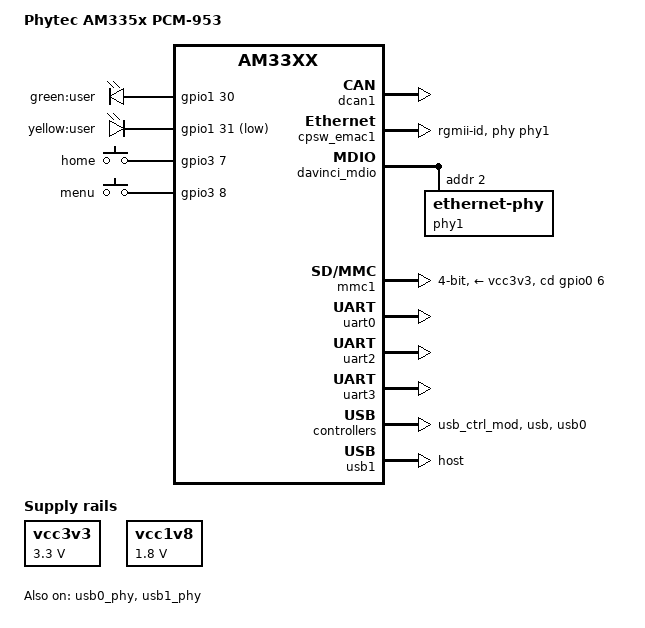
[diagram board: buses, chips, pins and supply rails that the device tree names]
/*
 * Copyright (C) 2014-2017 Phytec Messtechnik GmbH
 * Author: Wadim Egorov <w.egorov@phytec.de>
 *	   Teresa Remmet <t.remmet@phytec.de>
 *
 * This program is free software; you can redistribute it and/or modify
 * it under the terms of the GNU General Public License version 2 as
 * published by the Free Software Foundation.
 */

#include <dt-bindings/input/input.h>

/ {
	model = "Phytec AM335x PCM-953";
	compatible = "phytec,am335x-pcm-953", "phytec,am335x-phycore-som", "ti,am33xx";

	/* Power */
	regulators {
		vcc3v3: fixedregulator@1 {
			compatible = "regulator-fixed";
			regulator-name = "vcc3v3";
			regulator-min-microvolt = <3300000>;
			regulator-max-microvolt = <3300000>;
			regulator-boot-on;
		};

		vcc1v8: fixedregulator@2 {
			compatible = "regulator-fixed";
			regulator-name = "vcc1v8";
			regulator-min-microvolt = <1800000>;
			regulator-max-microvolt = <1800000>;
			regulator-boot-on;
		};
	};

	/* User IO */
	user_leds: user_leds {
		compatible = "gpio-leds";
		pinctrl-names = "default";
		pinctrl-0 = <&user_leds_pins>;

		green {
			label = "green:user";
			gpios = <&gpio1 30 GPIO_ACTIVE_HIGH>;
			linux,default-trigger = "gpio";
			default-state = "on";
		};

		yellow {
			label = "yellow:user";
			gpios = <&gpio1 31 GPIO_ACTIVE_LOW>;
			linux,default-trigger = "gpio";
			default-state = "on";
		};
	};

	user_buttons: user_buttons {
		compatible = "gpio-keys";
		pinctrl-names = "default";
		pinctrl-0 = <&user_buttons_pins>;

		button@0 {
			label = "home";
			linux,code = <KEY_HOME>;
			gpios = <&gpio3 7 GPIO_ACTIVE_HIGH>;
			wakeup-source;
		};

		button@1 {
			label = "menu";
			linux,code = <KEY_MENU>;
			gpios = <&gpio3 8 GPIO_ACTIVE_HIGH>;
			wakeup-source;
		};

	};
};

&am33xx_pinmux {
	user_buttons_pins: pinmux_user_buttons {
		pinctrl-single,pins = <
			AM33XX_PADCONF(AM335X_PIN_EMU0, PIN_INPUT_PULLDOWN, MUX_MODE7)	/* emu0.gpio3_7 */
			AM33XX_PADCONF(AM335X_PIN_EMU1, PIN_INPUT_PULLDOWN, MUX_MODE7)	/* emu1.gpio3_8 */
		>;
	};

	user_leds_pins: pinmux_user_leds {
		pinctrl-single,pins = <
			AM33XX_PADCONF(AM335X_PIN_GPMC_CSN1, PIN_OUTPUT_PULLDOWN, MUX_MODE7)	/* gpmc_csn1.gpio1_30 */
			AM33XX_PADCONF(AM335X_PIN_GPMC_CSN2, PIN_OUTPUT_PULLDOWN, MUX_MODE7)	/* gpmc_csn2.gpio1_31 */
		>;
	};
};

/* CAN */
&am33xx_pinmux {
	dcan1_pins: pinmux_dcan1 {
		pinctrl-single,pins = <
			AM33XX_PADCONF(AM335X_PIN_UART1_RXD, PIN_OUTPUT_PULLUP, MUX_MODE2)	/* uart1_rxd.dcan1_tx_mux2 */
			AM33XX_PADCONF(AM335X_PIN_UART1_TXD, PIN_INPUT_PULLUP, MUX_MODE2)	/* uart1_txd.dcan1_rx_mux2 */
		>;
	};
};

&dcan1 {
	pinctrl-names = "default";
	pinctrl-0 = <&dcan1_pins>;
	status = "okay";
};

/* Ethernet */
&am33xx_pinmux {
	ethernet1_pins: pinmux_ethernet1 {
		pinctrl-single,pins = <
			AM33XX_PADCONF(AM335X_PIN_GPMC_A0, PIN_OUTPUT_PULLDOWN, MUX_MODE2)	/* gpmc_a0.rgmii2_tctl */
			AM33XX_PADCONF(AM335X_PIN_GPMC_A1, PIN_INPUT_PULLDOWN, MUX_MODE2)	/* gpmc_a1.rgmii2_rctl */
			AM33XX_PADCONF(AM335X_PIN_GPMC_A2, PIN_OUTPUT_PULLDOWN, MUX_MODE2)	/* gpmc_a2.rgmii2_td3 */
			AM33XX_PADCONF(AM335X_PIN_GPMC_A3, PIN_OUTPUT_PULLDOWN, MUX_MODE2)	/* gpmc_a3.rgmii2_td2 */
			AM33XX_PADCONF(AM335X_PIN_GPMC_A4, PIN_OUTPUT_PULLDOWN, MUX_MODE2)	/* gpmc_a4.rgmii2_td1 */
			AM33XX_PADCONF(AM335X_PIN_GPMC_A5, PIN_OUTPUT_PULLDOWN, MUX_MODE2)	/* gpmc_a5.rgmii2_td0 */
			AM33XX_PADCONF(AM335X_PIN_GPMC_A6, PIN_OUTPUT_PULLDOWN, MUX_MODE2)	/* gpmc_a6.rgmii2_tclk */
			AM33XX_PADCONF(AM335X_PIN_GPMC_A7, PIN_INPUT_PULLDOWN, MUX_MODE2)	/* gpmc_a7.rgmii2_rclk */
			AM33XX_PADCONF(AM335X_PIN_GPMC_A8, PIN_INPUT_PULLDOWN, MUX_MODE2)	/* gpmc_a8.rgmii2_rd3 */
			AM33XX_PADCONF(AM335X_PIN_GPMC_A9, PIN_INPUT_PULLDOWN, MUX_MODE2)	/* gpmc_a9.rgmii2_rd2 */
			AM33XX_PADCONF(AM335X_PIN_GPMC_A10, PIN_INPUT_PULLDOWN, MUX_MODE2)	/* gpmc_a10.rgmii2_rd1 */
			AM33XX_PADCONF(AM335X_PIN_GPMC_A11, PIN_INPUT_PULLDOWN, MUX_MODE2)	/* gpmc_a11.rgmii2_rd0 */
		>;
	};
};

&cpsw_emac1 {
	phy-handle = <&phy1>;
	phy-mode = "rgmii-id";
	dual_emac_res_vlan = <2>;
	status = "okay";
};

&davinci_mdio {
	phy1: ethernet-phy@2 {
		reg = <2>;

		/* Register 260 (104h) – RGMII Clock and Control Pad Skew */
		rxc-skew-ps = <1400>;
		rxdv-skew-ps = <0>;
		txc-skew-ps = <1400>;
		txen-skew-ps = <0>;
		/* Register 261 (105h) – RGMII RX Data Pad Skew */
		rxd3-skew-ps = <0>;
		rxd2-skew-ps = <0>;
		rxd1-skew-ps = <0>;
		rxd0-skew-ps = <0>;
		/* Register 262 (106h) – RGMII TX Data Pad Skew */
		txd3-skew-ps = <0>;
		txd2-skew-ps = <0>;
		txd1-skew-ps = <0>;
		txd0-skew-ps = <0>;
	};
};

&mac {
	slaves = <2>;
	pinctrl-names = "default";
	pinctrl-0 = <&ethernet0_pins &ethernet1_pins>;
	dual_emac;
};

/* Misc */
&am33xx_pinmux {
	pinctrl-names = "default";
	pinctrl-0 = <&cb_gpio_pins>;

	cb_gpio_pins: pinmux_cb_gpio {
		pinctrl-single,pins = <
			AM33XX_PADCONF(AM335X_PIN_UART0_CTSN, PIN_OUTPUT_PULLDOWN, MUX_MODE7)	/* uart0_ctsn.gpio1_8 */
			AM33XX_PADCONF(AM335X_PIN_UART0_RTSN, PIN_OUTPUT_PULLDOWN, MUX_MODE7)	/* uart0_rtsn.gpio1_9 */
		>;
	};
};

/* MMC */
&am33xx_pinmux {
	mmc1_pins: pinmux_mmc1_pins {
		pinctrl-single,pins = <
			AM33XX_PADCONF(AM335X_PIN_MMC0_DAT3, PIN_INPUT_PULLUP, MUX_MODE0)
			AM33XX_PADCONF(AM335X_PIN_MMC0_DAT2, PIN_INPUT_PULLUP, MUX_MODE0)
			AM33XX_PADCONF(AM335X_PIN_MMC0_DAT1, PIN_INPUT_PULLUP, MUX_MODE0)
			AM33XX_PADCONF(AM335X_PIN_MMC0_DAT0, PIN_INPUT_PULLUP, MUX_MODE0)
			AM33XX_PADCONF(AM335X_PIN_MMC0_CLK, PIN_INPUT_PULLUP, MUX_MODE0)
			AM33XX_PADCONF(AM335X_PIN_MMC0_CMD, PIN_INPUT_PULLUP, MUX_MODE0)
			AM33XX_PADCONF(AM335X_PIN_SPI0_CS1, PIN_INPUT_PULLUP, MUX_MODE7)	/* spi0_cs1.mmc0_sdcd */
		>;
	};
};

&mmc1 {
	vmmc-supply = <&vcc3v3>;
	bus-width = <4>;
	pinctrl-names = "default";
	pinctrl-0 = <&mmc1_pins>;
	cd-gpios = <&gpio0 6 GPIO_ACTIVE_HIGH>;
	status = "okay";
};

/* UARTs */
&am33xx_pinmux {
	uart0_pins: pinmux_uart0 {
		pinctrl-single,pins = <
			AM33XX_PADCONF(AM335X_PIN_UART0_RXD, PIN_INPUT_PULLUP, MUX_MODE0)
			AM33XX_PADCONF(AM335X_PIN_UART0_TXD, PIN_OUTPUT_PULLDOWN, MUX_MODE0)
		>;
	};

	uart1_pins: pinmux_uart1 {
		pinctrl-single,pins = <
			AM33XX_PADCONF(AM335X_PIN_UART1_RXD, PIN_INPUT_PULLUP, MUX_MODE0)
			AM33XX_PADCONF(AM335X_PIN_UART1_TXD, PIN_OUTPUT_PULLDOWN, MUX_MODE0)
			AM33XX_PADCONF(AM335X_PIN_UART1_CTSN, PIN_INPUT, MUX_MODE0)
			AM33XX_PADCONF(AM335X_PIN_UART1_RTSN, PIN_OUTPUT_PULLDOWN, MUX_MODE0)
		>;
	};

	uart2_pins: pinmux_uart2 {
		pinctrl-single,pins = <
			AM33XX_PADCONF(AM335X_PIN_MII1_TX_CLK, PIN_INPUT_PULLUP, MUX_MODE1)	/* mii1_tx_clk.uart2_rxd */
			AM33XX_PADCONF(AM335X_PIN_MII1_RX_CLK, PIN_OUTPUT_PULLDOWN, MUX_MODE1)	/* mii1_rx_clk.uart2_txd */
		>;
	};

	uart3_pins: pinmux_uart3 {
		pinctrl-single,pins = <
			AM33XX_PADCONF(AM335X_PIN_MII1_RXD3, PIN_INPUT_PULLUP, MUX_MODE1)	/* mii1_rxd3.uart3_rxd */
			AM33XX_PADCONF(AM335X_PIN_MII1_RXD2, PIN_OUTPUT_PULLDOWN, MUX_MODE1)	/* mii1_rxd2.uart3_txd */
		>;
	};
};

&uart0 {
	pinctrl-names = "default";
	pinctrl-0 = <&uart0_pins>;
	status = "okay";
};

&uart1 {
	pinctrl-names = "default";
	pinctrl-0 = <&uart1_pins>;
};

&uart2 {
	pinctrl-names = "default";
	pinctrl-0 = <&uart2_pins>;
	status = "okay";
};

&uart3 {
	pinctrl-names = "default";
	pinctrl-0 = <&uart3_pins>;
	status = "okay";
};

/* USB */
&cppi41dma {
	status = "okay";
};

&usb_ctrl_mod {
	status = "okay";
};

&usb {
	status = "okay";
};

&usb0 {
	status = "okay";
};

&usb0_phy {
	status = "okay";
};

&usb1 {
	status = "okay";
	dr_mode = "host";
};

&usb1_phy {
	status = "okay";
};
